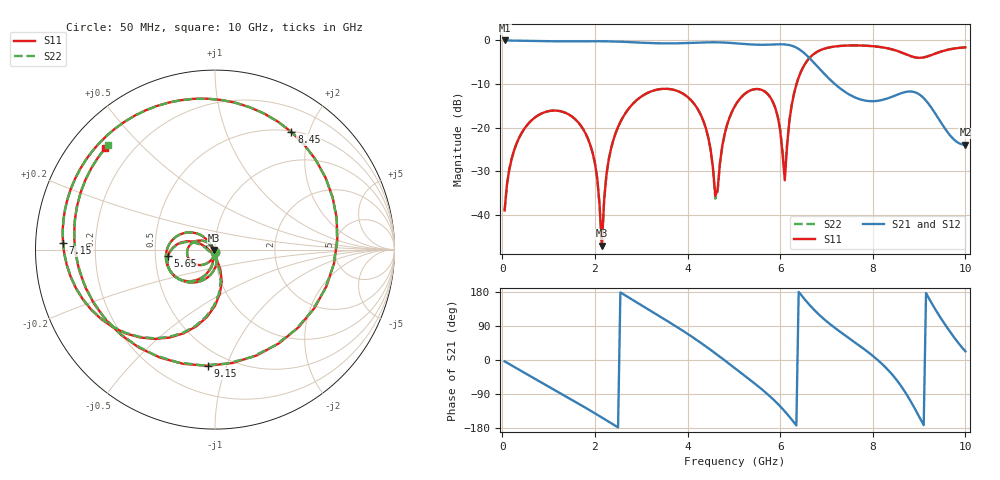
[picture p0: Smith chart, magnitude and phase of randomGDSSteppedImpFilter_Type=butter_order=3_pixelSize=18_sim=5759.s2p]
! freq	dB(S11)	phase(S11)	dB(S12)	phase(S12)
!  dB(S21)	phase(S21)	dB(S22)	phase(S22)
!S-par simulation data
#  GHz  S  DB  R 50
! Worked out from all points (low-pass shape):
!   200 points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, 50 MHz to 10 GHz, reference 50 ohm
!   highest |S21| = -0.01 dB at 50 MHz (marker M1); lowest = -23.9 dB at 10 GHz (marker M2)
!   |S21| within 3 dB of the highest: start of sweep to 6.53 GHz
!   lowest |S11| = -47.0 dB at 2.15 GHz (marker M3), VSWR 1.01, Z = 49.6 - j0.264 ohm
!   |S11| at or under -10 dB: start of sweep to 6.353 GHz
!   |S22| runs from -47.1 to -1.1 dB; largest |S21 - S12| = 0
!   S11 on the Smith chart (normalised r, x): 50 MHz: 1.00, -0.02; 5.65 GHz: 0.58, -0.04; 7.15 GHz: 0.08, +0.02; 8.45 GHz: 0.51, +1.73; 9.15 GHz: 0.39, -0.86; 10 GHz: 0.11, +0.39
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0.05  -38.97 -91.2  -0.01 -3.6  -0.01 -3.6  -38.97 -91.1
0.6  -18.64 -132.5  -0.12 -42.2  -0.12 -42.2  -18.64 -132.5
1.75  -20.40 148.0  -0.19 -122.6  -0.19 -122.6  -20.40 147.9
2  -28.12 132.1  -0.18 -140.7  -0.18 -140.7  -28.12 131.9
2.15  -47.04 -143.3  -0.19 -151.8  -0.19 -151.8  -47.15 -143.4
2.25  -30.69 -75.0  -0.21 -159.2  -0.21 -159.2  -30.70 -74.9
2.45  -21.16 -86.5  -0.26 -174.2  -0.26 -174.2  -21.17 -86.4
3.4  -11.17 -155.0  -0.67 115.1  -0.67 115.1  -11.17 -155.0
4.25  -16.29 142.0  -0.49 48.5  -0.49 48.5  -16.30 141.7
4.6  -35.64 165.2  -0.43 17.6  -0.43 17.6  -36.25 162.8
5.05  -14.55 -118.6  -0.66 -24.2  -0.66 -24.2  -14.56 -118.0
5.65  -11.59 -172.7  -0.99 -82.0  -0.99 -82.0  -11.58 -172.0
6.1  -32.04 -131.5  -0.92 -135.4  -0.92 -135.4  -30.48 -132.8
6.3  -12.15 -83.7  -1.40 -164.9  -1.40 -164.9  -12.12 -85.1
6.7  -3.34 -136.6  -4.77 136.6  -4.77 136.6  -3.34 -137.2
7.15  -1.43 177.6  -9.69 87.7  -9.69 87.7  -1.44 177.2
8.35  -1.87 70.4  -13.17 -28.8  -13.17 -28.8  -1.89 69.6
8.45  -2.14 57.0  -12.77 -42.8  -12.77 -42.8  -2.16 56.1
8.8  -3.51 -6.4  -11.70 -104.9  -11.70 -104.9  -3.55 -8.3
9.15  -3.76 -93.7  -13.79 176.6  -13.79 176.6  -3.76 -96.4
9.55  -2.32 -171.3  -20.06 95.5  -20.06 95.5  -2.30 -173.4
10  -1.59 137.3  -23.91 22.9  -23.91 22.9  -1.57 135.7
